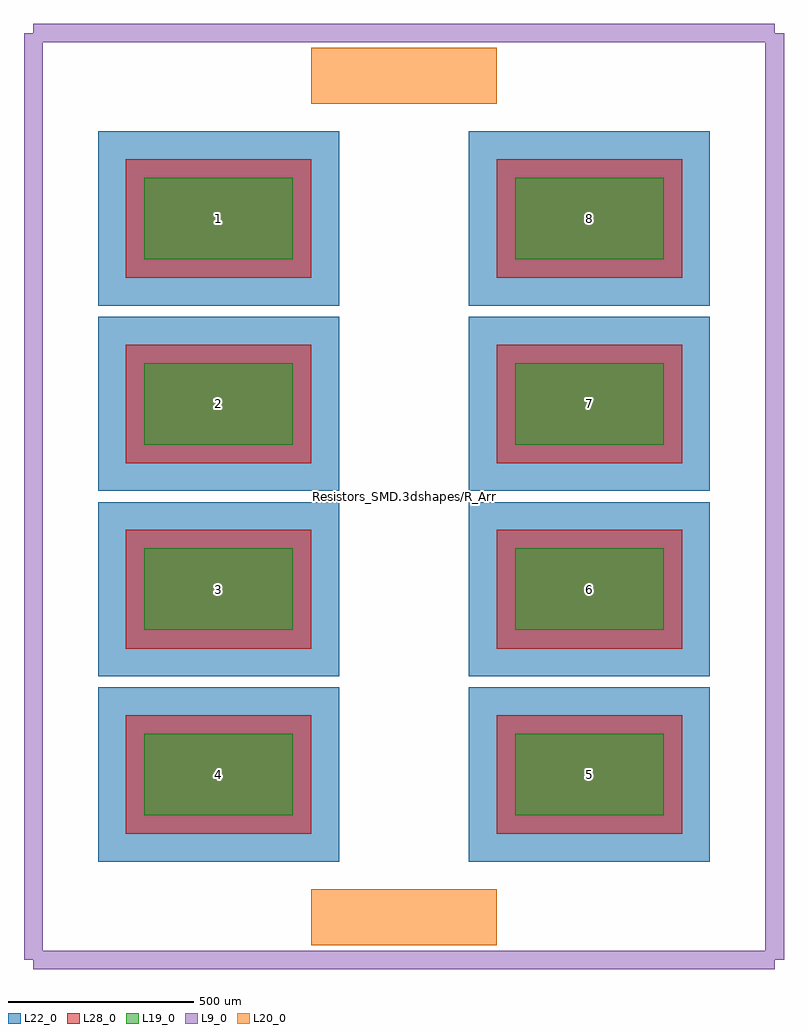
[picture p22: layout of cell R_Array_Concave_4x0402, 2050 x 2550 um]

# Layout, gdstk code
import gdstk
lib = gdstk.Library(unit=1e-6, precision=1e-09)
def R(c, l, rs):  # rectangles x0, y0, x1, y1
    for r in rs: c.add(gdstk.rectangle(r[:2], r[2:], *l))
def A(c, l, x, y, w, h, nx, ny, dx, dy):  # array of equal rectangles
    R(c, l, [(x+i*dx, y+j*dy, x+i*dx+w, y+j*dy+h) for i in range(nx) for j in range(ny)])
L9_0 = (9, 0)
L19_0 = (19, 0)
L20_0 = (20, 0)
L22_0 = (22, 0)
L28_0 = (28, 0)

r_array_concave_4x0402 = lib.new_cell('R_Array_Concave_4x0402')
A(r_array_concave_4x0402, L19_0, -700, -860, 400, 220, 1, 4, 0, 500)
A(r_array_concave_4x0402, L19_0, 300, -860, 400, 220, 1, 4, 0, 500)
A(r_array_concave_4x0402, L22_0, -825, -985, 650, 470, 1, 4, 0, 500)
A(r_array_concave_4x0402, L22_0, 175, -985, 650, 470, 1, 4, 0, 500)
A(r_array_concave_4x0402, L28_0, -750, -910, 500, 320, 1, 4, 0, 500)
A(r_array_concave_4x0402, L28_0, 250, -910, 500, 320, 1, 4, 0, 500)
r_array_concave_4x0402.add(gdstk.FlexPath([(250,-1135),(-250,-1135)], 149.998, ends="flush", simple_path=True, layer=20, datatype=0))  # L20_0
r_array_concave_4x0402.add(gdstk.FlexPath([(250,1135),(-250,1135)], 149.998, ends="flush", simple_path=True, layer=20, datatype=0))  # L20_0
r_array_concave_4x0402.add(gdstk.FlexPath([(1000,1250),(1000,-1250)], 50, ends="flush", simple_path=True, layer=9, datatype=0))  # L9_0
r_array_concave_4x0402.add(gdstk.FlexPath([(-1000,1250),(-1000,-1250)], 50, ends="flush", simple_path=True, layer=9, datatype=0))  # L9_0
r_array_concave_4x0402.add(gdstk.FlexPath([(-1000,-1250),(1000,-1250)], 50, ends="flush", simple_path=True, layer=9, datatype=0))  # L9_0
r_array_concave_4x0402.add(gdstk.FlexPath([(-1000,1250),(1000,1250)], 50, ends="flush", simple_path=True, layer=9, datatype=0))  # L9_0
r_array_concave_4x0402.add(gdstk.Label('Resistors_SMD.3dshapes/R_Array_Concave_4x0402.wrl', (0,0), layer=12, texttype=0))
r_array_concave_4x0402.add(gdstk.Label('5', (500,-750), layer=28, texttype=0))
r_array_concave_4x0402.add(gdstk.Label('6', (500,-250), layer=28, texttype=0))
r_array_concave_4x0402.add(gdstk.Label('8', (500,750), layer=28, texttype=0))
r_array_concave_4x0402.add(gdstk.Label('7', (500,250), layer=28, texttype=0))
r_array_concave_4x0402.add(gdstk.Label('4', (-500,-750), layer=28, texttype=0))
r_array_concave_4x0402.add(gdstk.Label('2', (-500,250), layer=28, texttype=0))
r_array_concave_4x0402.add(gdstk.Label('3', (-500,-250), layer=28, texttype=0))
r_array_concave_4x0402.add(gdstk.Label('1', (-500,750), layer=28, texttype=0))
r_array_concave_4x0402.add(gdstk.Label('type', (0,-2100), layer=9, texttype=0))
r_array_concave_4x0402.add(gdstk.Label('devicename', (0,2100), layer=9, texttype=0))

lib.write_gds('R_Array_Concave_4x0402.gds')
